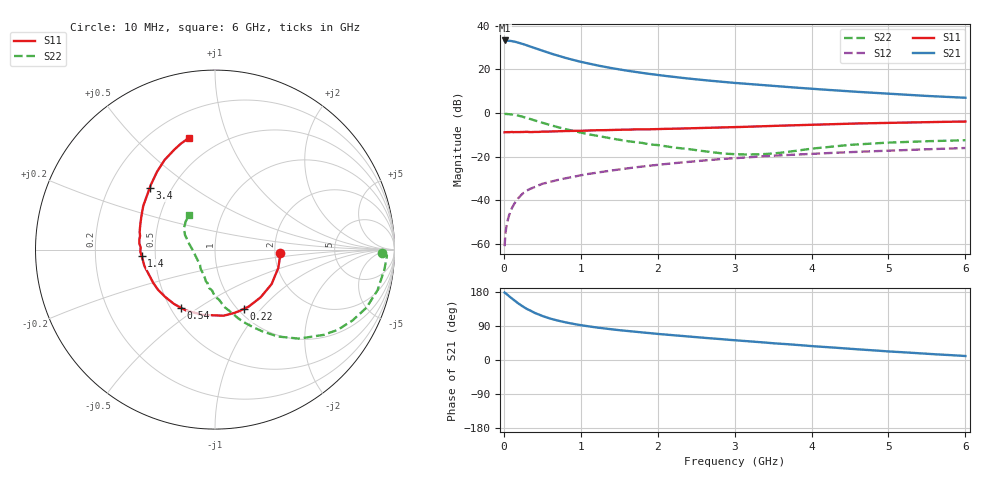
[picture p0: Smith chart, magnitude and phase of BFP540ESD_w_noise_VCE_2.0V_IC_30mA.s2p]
! Infineon Technologies  Discrete & RF Semiconductors
! BFP540ESD
! VCE =  2.0 V,  IC =  30 mA
! Common Emitter S-Parameters:  Nov 2015
# GHz  S  MA  R  50
!  f  S11  S21  S12  S22
! GHz  MAG  ANG  MAG  ANG  MAG  ANG  MAG  ANG
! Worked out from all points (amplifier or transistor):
!   210 points, 10 MHz to 6 GHz, reference 50 ohm
!   highest |S21| = 33.2 dB at 10 MHz (marker M1)
!   |S21| within 3 dB of that: start of sweep to 361.7 MHz
!   unconditionally stable (mu >= 1): start of sweep to 12.35 MHz; 1.827 GHz to end of sweep
!   at 185 MHz: K = 0.26, MSG = 35.7 dB, |S12| = -39.1 dB
!   at 1.52 GHz: K = 0.95, MSG = 22.8 dB, |S12| = -25.7 dB
!   at 6 GHz: K = 1.11, MAG = 9.5 dB, |S12| = -16.0 dB
!   lowest NFmin = 1.41 dB at 900 MHz
!   S11 on the Smith chart (normalised r, x): 10 MHz: 2.13, -0.09; 220 MHz: 1.06, -0.81; 540 MHz: 0.57, -0.43; 1.4 GHz: 0.42, -0.04; 3.4 GHz: 0.38, +0.35; 6 GHz: 0.35, +0.73
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0.01  0.3623 -2.9  45.74 178.0  0.0009 108.3  0.9308 -1.1
0.02  0.364 -7.0  45.21 176.8  0.0017 93.2  0.9584 -2.0
0.05  0.3672 -16.2  45.31 171.4  0.0035 78.6  0.9507 -6.6
0.1  0.3693 -31.4  44.32 162.9  0.0064 83.4  0.9336 -14.0
0.145  0.3668 -44.9  42.7 155.7  0.0089 80.2  0.9061 -20.3
0.2  0.3689 -59.4  40.31 147.5  0.0119 77.0  0.8617 -27.3
0.22  0.3673 -64.2  39.27 144.9  0.013 74.6  0.8431 -29.5
0.3  0.3714 -82.5  35.43 134.7  0.0169 68.9  0.77 -38.1
0.4  0.3702 -100.6  30.7 124.4  0.0203 66.9  0.6801 -46.8
0.5  0.3759 -115.7  26.76 116.0  0.024 62.8  0.5988 -54.0
0.54  0.3755 -120.3  25.33 113.6  0.025 62.2  0.5713 -56.0
0.6  0.3793 -127.1  23.28 109.4  0.0265 61.4  0.5315 -59.5
0.72  0.3833 -138.2  20.14 103.1  0.03 61.3  0.4664 -65.2
0.9  0.3908 -151.3  16.4 95.3  0.0347 60.9  0.3902 -72.7
1.02  0.3932 -158.4  14.58 91.3  0.0382 60.6  0.3497 -76.9
1.4  0.4108 -174.9  10.67 81.0  0.0484 59.3  0.2622 -89.8
2.02  0.4318 166.4  7.342 68.5  0.0657 55.5  0.1829 -106.2
3.1  0.4816 142.4  4.737 50.7  0.0952 46.8  0.113 -149.5
3.4  0.5007 136.6  4.299 46.0  0.1031 43.9  0.1155 -167.2
4.1  0.5467 125.1  3.493 35.4  0.1188 37.3  0.1593 162.4
5.1  0.6015 112.1  2.706 21.5  0.1398 27.8  0.2136 142.8
6  0.6396 103.1  2.236 10.5  0.1585 20.8  0.2391 127.2
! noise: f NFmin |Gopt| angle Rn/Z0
0.9  1.41  0.38  -138  0.12
1.8  1.56  0.4  -142  0.12
2.4  1.58  0.41  -133  0.14
3  1.7  0.43  -126  0.17
4  1.76  0.52  -104  0.29
5  1.88  0.59  -87  0.46
6  2.22  0.57  -86  0.68
